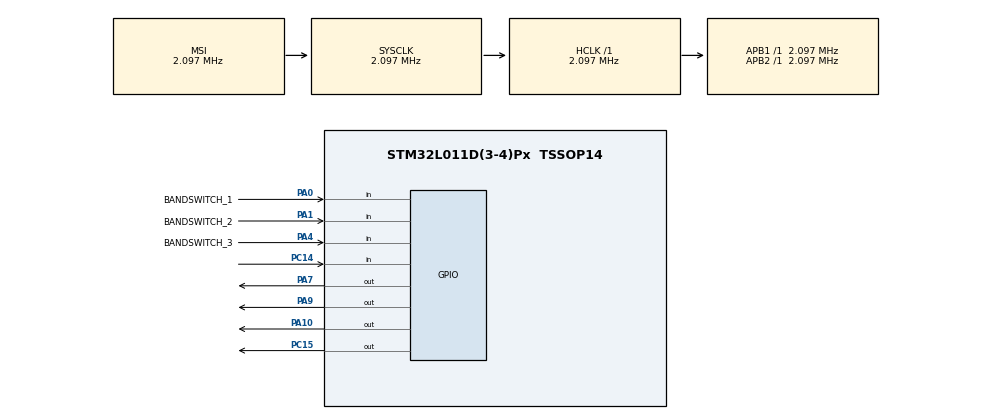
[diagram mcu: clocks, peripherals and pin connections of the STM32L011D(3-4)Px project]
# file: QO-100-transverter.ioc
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Mcu.Family=STM32L0
Mcu.Name=STM32L011D(3-4)Px
Mcu.Package=TSSOP14
PA0-CK_IN.GPIO_Label=BANDSWITCH_1
PA0-CK_IN.GPIO_PuPd=GPIO_PULLUP
PA0-CK_IN.Signal=GPIO_Input
PA1.GPIO_Label=BANDSWITCH_2
PA1.GPIO_PuPd=GPIO_PULLUP
PA1.Signal=GPIO_Input
PA10.Signal=GPIO_Output
PA13.Mode=Serial_Wire
PA13.Signal=SYS_SWDIO
PA14.Mode=Serial_Wire
PA14.Signal=SYS_SWCLK
PA4.GPIO_Label=BANDSWITCH_3
PA4.GPIO_PuPd=GPIO_PULLUP
PA4.Signal=GPIO_Input
PA7.Signal=GPIO_Output
PA9.Signal=GPIO_Output
PC14-OSC32_IN.Signal=GPIO_Input
PC15-OSC32_OUT.Signal=GPIO_Output
ProjectManager.HeapSize=0x200
ProjectManager.StackSize=0x400
ProjectManager.TargetToolchain=STM32CubeIDE
RCC.AHBFreq_Value=2097000
RCC.APB1Freq_Value=2097000
RCC.APB1TimFreq_Value=2097000
RCC.APB2Freq_Value=2097000
RCC.APB2TimFreq_Value=2097000
RCC.HSE_VALUE=8000000
RCC.HSI16_VALUE=16000000
RCC.HSI_VALUE=16000000
RCC.LSE_VALUE=32768
RCC.MSI_VALUE=2097000
RCC.SYSCLKFreq_VALUE=2097000
RCC.VCOOutputFreq_Value=48000000
RCC.VDD_VALUE=3.3
board=custom

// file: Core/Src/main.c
/* USER CODE BEGIN Header */
/**
  ******************************************************************************
  * @file           : main.c
  * @brief          : Main program body
  ******************************************************************************
  * @attention
  *
  * Copyright (c) 2025 STMicroelectronics.
  * All rights reserved.
  *
  * This software is licensed under terms that can be found in the LICENSE file
  * in the root directory of this software component.
  * If no LICENSE file comes with this software, it is provided AS-IS.
  *
  ******************************************************************************
  */
/* USER CODE END Header */
#include "main.h"

/* USER CODE BEGIN Includes */
#include "mixer.h"
#include "rffc5071.h"
#include "rffc5071_spi.h"
#include <stdbool.h>

/* USER CODE END Includes */

/* USER CODE BEGIN PV */
volatile uint16_t rffc_readback;     // last raw readback value (watch in debugger)
volatile uint32_t rffc_unlock_count; // how many times LD was found 0
volatile uint16_t rffc_spi_selftest; // raw read of LF (0x00) after setup, expect 0xBEFA

/* USER CODE END PV */

void SystemClock_Config(void);
static void MX_GPIO_Init(void);

/* USER CODE BEGIN 0 */

BAND_IF getBand() {
	// read band IF setting
	GPIO_PinState bandswitch[3];
	bandswitch[0] = HAL_GPIO_ReadPin(BANDSWITCH_1_GPIO_Port, BANDSWITCH_1_Pin);
	bandswitch[1] = HAL_GPIO_ReadPin(BANDSWITCH_1_GPIO_Port, BANDSWITCH_2_Pin);
	bandswitch[2] = HAL_GPIO_ReadPin(BANDSWITCH_1_GPIO_Port, BANDSWITCH_3_Pin);
	BAND_IF band = !bandswitch[0] + (!bandswitch[1] << 1) + (!bandswitch[2] << 2);
	return band;
}

//via ACT green LED
void indicateBand(BAND_IF band) {
	HAL_GPIO_WritePin(LED_GPIO_Port, LED_Pin, GPIO_PIN_RESET);
	for(int x=0; x<=band; x++) {
	  HAL_GPIO_WritePin(LED_GPIO_Port, LED_Pin, GPIO_PIN_RESET);
	  HAL_Delay(400);
	  HAL_GPIO_WritePin(LED_GPIO_Port, LED_Pin, GPIO_PIN_SET);
	  HAL_Delay(200);
	}
}

void switchBand(rffc5071_driver_t *const mixer, BAND_IF band) {
	rffc5071_setup(mixer, band);
	rffc5071_rx(mixer);

	indicateBand(band);
}

/* USER CODE END 0 */

int main(void)
{

  /* MCU Configuration--------------------------------------------------------*/

  /* Reset of all peripherals, Initializes the Flash interface and the Systick. */
  HAL_Init();

  /* Configure the system clock */
  SystemClock_Config();

  /* Initialize all configured peripherals */
  MX_GPIO_Init();
  /* USER CODE BEGIN 2 */

  // read band IF setting
  BAND_IF band = getBand();

  // initialize PLL and mixer, don't enable them yet
  rffc5071_driver_t* mix = mixer_bus_setup();
  rffc5071_setup(mix, band);

  // SPI read bit-alignment check: 0xBEFA = OK, 0x7DF4/0x7DF5 = one bit late
  rffc_spi_selftest = rffc5071_reg_read_raw(mix, 0x00);

  /* USER CODE END 2 */

  /* Infinite loop */
  /* USER CODE BEGIN WHILE */

  	// PTT polling loop: switch PLL bank & mixer
	GPIO_PinState ptt = PTT_RX;
	GPIO_PinState prev_ptt = PTT_TX;
	band = getBand();
	BAND_IF prev_band = getBand();
	const uint8_t pollingStepMs = 10;
	uint16_t loopCounter = 0;
	bool txing = false;
	while (1) {
		// handle ptt switch
		if (ptt != prev_ptt) {
			if (ptt == PTT_TX) {
				txing = true;
				rffc5071_tx(mix);
				HAL_GPIO_WritePin(LED_GPIO_Port, LED_Pin, GPIO_PIN_SET);
			} else { // RX
				txing = false;
				rffc5071_rx(mix);
				HAL_GPIO_WritePin(LED_GPIO_Port, LED_Pin, GPIO_PIN_RESET);
			}
		}
		prev_ptt = ptt;
		ptt = HAL_GPIO_ReadPin(PTT_GPIO_Port, PTT_Pin);

		// handle band switch
		if (band != prev_band) {
			switchBand(mix, band);
		}
		prev_band = band;
		band = getBand();

		HAL_Delay(pollingStepMs);

		// short blinks every 1s (TODO calc from step time)
		if (loopCounter % 100 == 0) {
			HAL_GPIO_WritePin(LED_GPIO_Port, LED_Pin, GPIO_PIN_SET);
		} else if (loopCounter % 25 == 1 && !txing) {
			HAL_GPIO_WritePin(LED_GPIO_Port, LED_Pin, GPIO_PIN_RESET);
		}
		// check PLL lock detect every 1s (offset from LED blink tick)
		if (loopCounter % 100 == 50) {
			rffc_readback = rffc5071_reg_read(mix, 31); // readback reg, READSEL=0001
			bool locked = (rffc_readback >> 15) & 0x1;  // bit 15 = LD
			if (!locked) {
				// PLL unlocked: recalibrate VCO and relock, keeps RX/TX mode
				rffc_unlock_count++;
				rffc5071_relock(mix);
			}
		}

		loopCounter++;
	}

    /* USER CODE END WHILE */

}

void SystemClock_Config(void)
{
  RCC_OscInitTypeDef RCC_OscInitStruct = {0};
  RCC_ClkInitTypeDef RCC_ClkInitStruct = {0};

  /** Configure the main internal regulator output voltage
  */
  __HAL_PWR_VOLTAGESCALING_CONFIG(PWR_REGULATOR_VOLTAGE_SCALE1);

  /** Initializes the RCC Oscillators according to the specified parameters
  * in the RCC_OscInitTypeDef structure.
  */
  RCC_OscInitStruct.OscillatorType = RCC_OSCILLATORTYPE_MSI;
  RCC_OscInitStruct.MSIState = RCC_MSI_ON;
  RCC_OscInitStruct.MSICalibrationValue = 0;
  RCC_OscInitStruct.MSIClockRange = RCC_MSIRANGE_5;
  RCC_OscInitStruct.PLL.PLLState = RCC_PLL_NONE;
  if (HAL_RCC_OscConfig(&RCC_OscInitStruct) != HAL_OK)
  {
    Error_Handler();
  }

  /** Initializes the CPU, AHB and APB buses clocks
  */
  RCC_ClkInitStruct.ClockType = RCC_CLOCKTYPE_HCLK|RCC_CLOCKTYPE_SYSCLK
                              |RCC_CLOCKTYPE_PCLK1|RCC_CLOCKTYPE_PCLK2;
  RCC_ClkInitStruct.SYSCLKSource = RCC_SYSCLKSOURCE_MSI;
  RCC_ClkInitStruct.AHBCLKDivider = RCC_SYSCLK_DIV1;
  RCC_ClkInitStruct.APB1CLKDivider = RCC_HCLK_DIV1;
  RCC_ClkInitStruct.APB2CLKDivider = RCC_HCLK_DIV1;

  if (HAL_RCC_ClockConfig(&RCC_ClkInitStruct, FLASH_LATENCY_0) != HAL_OK)
  {
    Error_Handler();
  }
}

static void MX_GPIO_Init(void)
{
  GPIO_InitTypeDef GPIO_InitStruct = {0};

  /* GPIO Ports Clock Enable */
  __HAL_RCC_GPIOC_CLK_ENABLE();
  __HAL_RCC_GPIOA_CLK_ENABLE();

  /*Configure GPIO pin Output Level */
  HAL_GPIO_WritePin(GPIOC, GPIO_PIN_15, GPIO_PIN_RESET);

  /*Configure GPIO pin Output Level */
  HAL_GPIO_WritePin(GPIOA, GPIO_PIN_7|GPIO_PIN_9|GPIO_PIN_10, GPIO_PIN_RESET);

  /*Configure GPIO pin : PC14 */
  GPIO_InitStruct.Pin = GPIO_PIN_14;
  GPIO_InitStruct.Mode = GPIO_MODE_INPUT;
  GPIO_InitStruct.Pull = GPIO_NOPULL;
  HAL_GPIO_Init(GPIOC, &GPIO_InitStruct);

  /*Configure GPIO pin : PC15 */
  GPIO_InitStruct.Pin = GPIO_PIN_15;
  GPIO_InitStruct.Mode = GPIO_MODE_OUTPUT_PP;
  GPIO_InitStruct.Pull = GPIO_NOPULL;
  GPIO_InitStruct.Speed = GPIO_SPEED_FREQ_LOW;
  HAL_GPIO_Init(GPIOC, &GPIO_InitStruct);

  /*Configure GPIO pins : BANDSWITCH_1_Pin BANDSWITCH_2_Pin BANDSWITCH_3_Pin */
  GPIO_InitStruct.Pin = BANDSWITCH_1_Pin|BANDSWITCH_2_Pin|BANDSWITCH_3_Pin;
  GPIO_InitStruct.Mode = GPIO_MODE_INPUT;
  GPIO_InitStruct.Pull = GPIO_PULLUP;
  HAL_GPIO_Init(GPIOA, &GPIO_InitStruct);

  /*Configure GPIO pins : PA7 PA9 PA10 */
  GPIO_InitStruct.Pin = GPIO_PIN_7|GPIO_PIN_9|GPIO_PIN_10;
  GPIO_InitStruct.Mode = GPIO_MODE_OUTPUT_PP;
  GPIO_InitStruct.Pull = GPIO_NOPULL;
  GPIO_InitStruct.Speed = GPIO_SPEED_FREQ_LOW;
  HAL_GPIO_Init(GPIOA, &GPIO_InitStruct);

}

void Error_Handler(void)
{
  /* USER CODE BEGIN Error_Handler_Debug */
  /* User can add his own implementation to report the HAL error return state */
  __disable_irq();
  while (1)
  {
	  	//long blinks
  	    HAL_GPIO_TogglePin(LED_GPIO_Port, LED_Pin);
  	    HAL_Delay(2000);
  }

  /* USER CODE END Error_Handler_Debug */
}
